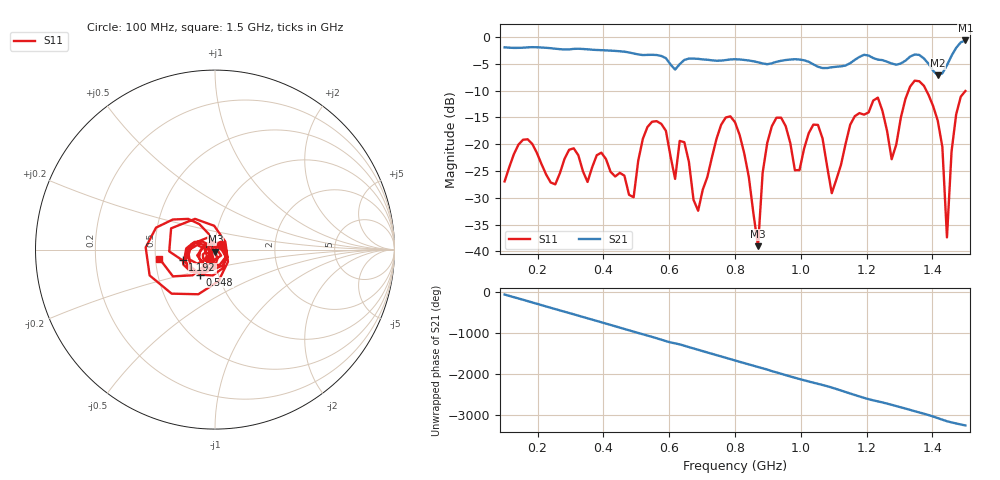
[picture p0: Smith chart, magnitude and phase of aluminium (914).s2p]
! NanoVNA-App
! Date: 2025-09-25 15:02:24
! Start: 100MHz Stop: 1,5GHz Points: 101
! S-Parameter data: F S11 S21 S12 S22
# Hz S RI R 50
!  Frequency  S11_Real  S11_Imag  S21_Real  S21_Imag  S12_Real  S12_Imag  S22_Real  S22_Imag
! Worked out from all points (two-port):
!   101 points, 100 MHz to 1.5 GHz, reference 50 ohm
!   highest |S21| = -0.64 dB at 1.5 GHz (marker M1); lowest = -7.1 dB at 1.416 GHz (marker M2)
!   |S21| within 3 dB of the highest: start of sweep to 579.5 MHz; 1.457 GHz to end of sweep (the widest 2 of 4)
!   lowest |S11| = -39.0 dB at 870 MHz (marker M3), VSWR 1.02, Z = 50.2 - j1.1 ohm
!   |S11| at or under -10 dB: start of sweep to 1.327 GHz; 1.381 GHz to end of sweep
!   S12 and S22 are empty: the file has one direction only
!   S11 on the Smith chart (normalised r, x): 100 MHz: 1.07, +0.06; 548 MHz: 0.82, -0.23; 1.192 GHz: 0.69, -0.08; 1.5 GHz: 0.53, -0.06
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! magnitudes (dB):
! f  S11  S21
! 100 MHz  -27.0  -1.9
! 156 MHz  -19.2  -2.0
! 338 MHz  -25.1  -2.2
! 492 MHz  -29.9  -3.1
! 548 MHz  -15.8  -3.3
! 576 MHz  -16.2  -3.5
! 646 MHz  -19.6  -4.3
! 688 MHz  -32.4  -4.1
! 800 MHz  -15.9  -4.1
! 870 MHz  -39.0  -4.7
! 912 MHz  -16.6  -4.9
! 982 MHz  -24.9  -4.1
! 1.038 GHz  -16.4  -5.1
! 1.094 GHz  -29.2  -5.6
! 1.192 GHz  -14.5  -3.3
! 1.234 GHz  -11.3  -4.2
! 1.276 GHz  -22.8  -4.9
! 1.346 GHz  -8.1  -3.3
! 1.416 GHz  -15.6  -7.1
! 1.444 GHz  -37.4  -5.3
! 1.472 GHz  -14.4  -2.0
! 1.5 GHz  -10.1  -0.6
